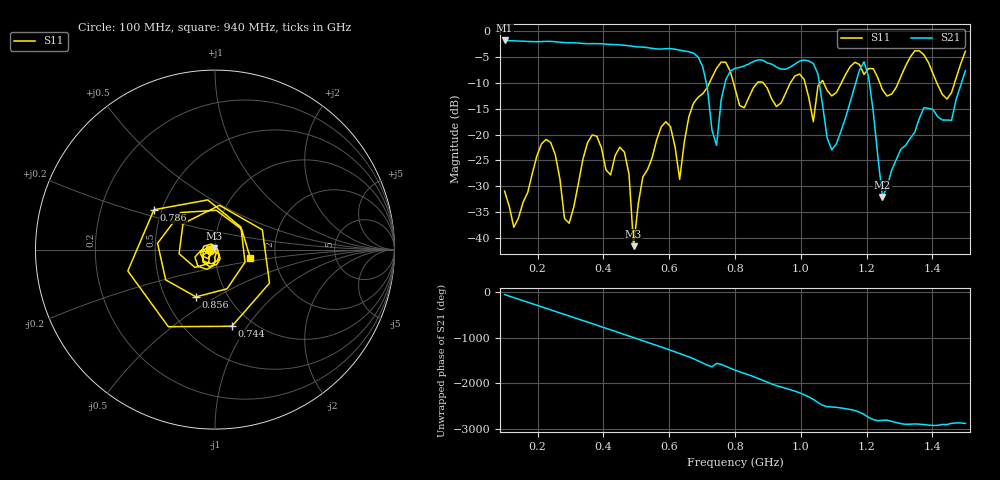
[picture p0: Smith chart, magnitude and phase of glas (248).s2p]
! NanoVNA-App
! Date: 2025-09-25 15:57:24
! Start: 100MHz Stop: 1,5GHz Points: 101
! S-Parameter data: F S11 S21 S12 S22
# Hz S RI R 50
!  Frequency  S11_Real  S11_Imag  S21_Real  S21_Imag  S12_Real  S12_Imag  S22_Real  S22_Imag
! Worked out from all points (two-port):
!   101 points, 100 MHz to 1.5 GHz, reference 50 ohm
!   highest |S21| = -1.80 dB at 100 MHz (marker M1); lowest = -32.1 dB at 1.248 GHz (marker M2)
!   |S21| within 3 dB of the highest: start of sweep to 684.1 MHz
!   lowest |S11| = -41.6 dB at 492 MHz (marker M3), VSWR 1.02, Z = 49.5 + j0.644 ohm
!   |S11| at or under -10 dB: start of sweep to 722.4 MHz; 795.4 MHz to 867.9 MHz (72.49 MHz wide, 8.72 % of centre); 885.9 MHz to 967.9 MHz (82.08 MHz wide, 8.86 % of centre) (the widest 3 of 7)
!   S12 and S22 are empty: the file has one direction only
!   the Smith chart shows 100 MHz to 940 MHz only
!   S11 on the Smith chart (normalised r, x): 100 MHz: 0.95, -0.01; 744 MHz: 0.81, -0.85; 786 MHz: 0.45, +0.24; 856 MHz: 0.71, -0.41; 940 MHz: 1.48, -0.14
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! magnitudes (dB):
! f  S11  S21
! 100 MHz  -30.9  -1.8
! 128 MHz  -37.9  -1.9
! 226 MHz  -20.9  -2.0
! 296 MHz  -37.2  -2.2
! 338 MHz  -24.7  -2.4
! 464 MHz  -23.4  -2.7
! 492 MHz  -41.6  -2.9
! 576 MHz  -18.5  -3.5
! 632 MHz  -28.7  -3.7
! 702 MHz  -12.1  -6.9
! 744 MHz  -7.2  -22.1
! 786 MHz  -7.8  -7.7
! 800 MHz  -11.1  -7.2
! 856 MHz  -10.9  -5.9
! 940 MHz  -13.9  -7.3
! 996 MHz  -8.3  -5.8
! 1.038 GHz  -17.5  -6.3
! 1.094 GHz  -12.5  -23.0
! 1.192 GHz  -8.4  -5.9
! 1.248 GHz  -11.3  -32.1
! 1.276 GHz  -12.2  -26.9
! 1.5 GHz  -3.9  -7.6
